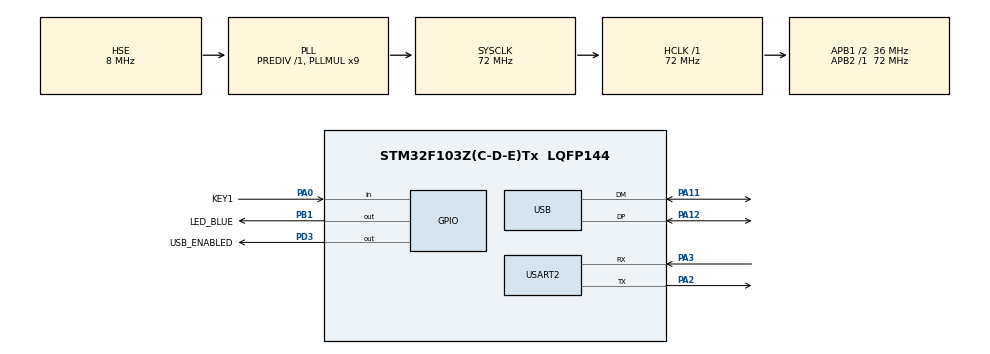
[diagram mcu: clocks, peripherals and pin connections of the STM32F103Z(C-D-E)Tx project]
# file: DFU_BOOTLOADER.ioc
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Mcu.Family=STM32F1
Mcu.Name=STM32F103Z(C-D-E)Tx
Mcu.Package=LQFP144
NVIC.PriorityGroup=NVIC_PRIORITYGROUP_4
NVIC.USB_LP_CAN1_RX0_IRQn=true\:0\:0\:false\:false\:true\:true\:true
OSC_IN.Mode=HSE-External-Oscillator
OSC_IN.Signal=RCC_OSC_IN
OSC_OUT.Mode=HSE-External-Oscillator
OSC_OUT.Signal=RCC_OSC_OUT
PA0-WKUP.GPIO_Label=KEY1
PA0-WKUP.Signal=GPIO_Input
PA11.Mode=Device
PA11.Signal=USB_DM
PA12.Mode=Device
PA12.Signal=USB_DP
PA13.Mode=Serial_Wire
PA13.Signal=SYS_JTMS-SWDIO
PA14.Mode=Serial_Wire
PA14.Signal=SYS_JTCK-SWCLK
PA2.Mode=Asynchronous
PA2.Signal=USART2_TX
PA3.Mode=Asynchronous
PA3.Signal=USART2_RX
PB1.GPIO_Label=LED_BLUE
PB1.GPIO_Speed=GPIO_SPEED_FREQ_HIGH
PB1.PinState=GPIO_PIN_SET
PB1.Signal=GPIO_Output
PD3.GPIO_Label=USB_ENABLED
PD3.GPIO_Speed=GPIO_SPEED_FREQ_HIGH
PD3.Signal=GPIO_Output
ProjectManager.HeapSize=0x1000
ProjectManager.StackSize=0x400
ProjectManager.TargetToolchain=MDK-ARM V5
RCC.AHBFreq_Value=72000000
RCC.APB1CLKDivider=RCC_HCLK_DIV2
RCC.APB1Freq_Value=36000000
RCC.APB1TimFreq_Value=72000000
RCC.APB2Freq_Value=72000000
RCC.APB2TimFreq_Value=72000000
RCC.HCLKFreq_Value=72000000
RCC.PLLMUL=RCC_PLL_MUL9
RCC.PLLSourceVirtual=RCC_PLLSOURCE_HSE
RCC.SYSCLKFreq_VALUE=72000000
RCC.SYSCLKSource=RCC_SYSCLKSOURCE_PLLCLK
RCC.USBFreq_Value=48000000
RCC.USBPrescaler=RCC_USBCLKSOURCE_PLL_DIV1_5
USART2.VirtualMode=VM_ASYNC
USB_DEVICE.CLASS_NAME_FS=DFU
USB_DEVICE.USBD_DFU_APP_DEFAULT_ADD=0x08010000
USB_DEVICE.VirtualMode=Dfu
USB_DEVICE.VirtualModeFS=Dfu_FS
VP_USB_DEVICE_VS_USB_DEVICE_DFU_FS.Mode=DFU_FS
board=custom

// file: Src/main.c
/* USER CODE BEGIN Header */
/**
  ******************************************************************************
  * @file           : main.c
  * @brief          : Main program body
  ******************************************************************************
  * @attention
  *
  * <h2><center>&copy; Copyright (c) 2020 STMicroelectronics.
  * All rights reserved.</center></h2>
  *
  * This software component is licensed by ST under Ultimate Liberty license
  * SLA0044, the "License"; You may not use this file except in compliance with
  * the License. You may obtain a copy of the License at:
  *                             www.st.com/SLA0044
  *
  ******************************************************************************
  */
/* USER CODE END Header */

#include "main.h"
#include "usart.h"
#include "usb_device.h"
#include "gpio.h"

void SystemClock_Config(void);
/* USER CODE BEGIN PFP */
int fputc(int ch, FILE* FILE)
{
    HAL_UART_Transmit(&huart2, (uint8_t*)&ch, 1, HAL_MAX_DELAY);
    return ch;
}

static void JumpToApp(void);
static void USB_GPIO_DeInit(void);
/* USER CODE END PFP */

/* USER CODE BEGIN 0 */
int main(void)
{
    HAL_Init();
    SystemClock_Config();
    MX_GPIO_Init();
    USB_GPIO_DeInit();
    MX_USART2_UART_Init();
    /*如果没有按下按键，则自动跳转到APP区，如果跳转不过去，则代表区域无APP*/
    if(HAL_GPIO_ReadPin(KEY1_GPIO_Port, KEY1_Pin) != GPIO_PIN_SET)
    {
        JumpToApp();
        printf("跳转失败，开始进入DFU模式\r\n");
    }

    MX_USB_DEVICE_Init();
    printf("Bruce.Yang DFU\n");
    HAL_GPIO_WritePin(LED_BLUE_GPIO_Port, LED_BLUE_Pin,GPIO_PIN_RESET);
    while(1)
    {
        HAL_Delay(1000);
    }
}
/* USER CODE END 0 */

void SystemClock_Config(void)
{
  RCC_OscInitTypeDef RCC_OscInitStruct = {0};
  RCC_ClkInitTypeDef RCC_ClkInitStruct = {0};
  RCC_PeriphCLKInitTypeDef PeriphClkInit = {0};

  /** Initializes the CPU, AHB and APB busses clocks
  */
  RCC_OscInitStruct.OscillatorType = RCC_OSCILLATORTYPE_HSE;
  RCC_OscInitStruct.HSEState = RCC_HSE_ON;
  RCC_OscInitStruct.HSEPredivValue = RCC_HSE_PREDIV_DIV1;
  RCC_OscInitStruct.HSIState = RCC_HSI_ON;
  RCC_OscInitStruct.PLL.PLLState = RCC_PLL_ON;
  RCC_OscInitStruct.PLL.PLLSource = RCC_PLLSOURCE_HSE;
  RCC_OscInitStruct.PLL.PLLMUL = RCC_PLL_MUL9;
  if (HAL_RCC_OscConfig(&RCC_OscInitStruct) != HAL_OK)
  {
    Error_Handler();
  }
  /** Initializes the CPU, AHB and APB busses clocks
  */
  RCC_ClkInitStruct.ClockType = RCC_CLOCKTYPE_HCLK|RCC_CLOCKTYPE_SYSCLK
                              |RCC_CLOCKTYPE_PCLK1|RCC_CLOCKTYPE_PCLK2;
  RCC_ClkInitStruct.SYSCLKSource = RCC_SYSCLKSOURCE_PLLCLK;
  RCC_ClkInitStruct.AHBCLKDivider = RCC_SYSCLK_DIV1;
  RCC_ClkInitStruct.APB1CLKDivider = RCC_HCLK_DIV2;
  RCC_ClkInitStruct.APB2CLKDivider = RCC_HCLK_DIV1;

  if (HAL_RCC_ClockConfig(&RCC_ClkInitStruct, FLASH_LATENCY_2) != HAL_OK)
  {
    Error_Handler();
  }
  PeriphClkInit.PeriphClockSelection = RCC_PERIPHCLK_USB;
  PeriphClkInit.UsbClockSelection = RCC_USBCLKSOURCE_PLL_DIV1_5;
  if (HAL_RCCEx_PeriphCLKConfig(&PeriphClkInit) != HAL_OK)
  {
    Error_Handler();
  }
}

/* USER CODE BEGIN 4 */
static void USB_GPIO_DeInit(void)
{
    GPIO_InitTypeDef GPIO_InitStruct = {0};

    /* GPIO Ports Clock Enable */
    __HAL_RCC_GPIOA_CLK_ENABLE();

    /*Configure GPIO pin Output Level */
    HAL_GPIO_WritePin(GPIOA, GPIO_PIN_11 | GPIO_PIN_12, GPIO_PIN_RESET);

    /*Configure GPIO pin : BLINK_LED_Pin */
    GPIO_InitStruct.Pin = GPIO_PIN_11 | GPIO_PIN_12;
    GPIO_InitStruct.Mode = GPIO_MODE_OUTPUT_PP;
    GPIO_InitStruct.Pull = GPIO_PULLDOWN;
    GPIO_InitStruct.Speed = GPIO_SPEED_FREQ_HIGH;
    HAL_GPIO_Init(GPIOA, &GPIO_InitStruct);

    HAL_Delay(100);
}

static void JumpToApp(void)
{
    typedef  void (*pFunction)(void);
    static pFunction JumpToApplication;
    static uint32_t JumpAddress;

    /* Test if user code is programmed starting from USBD_DFU_APP_DEFAULT_ADD * address */
    if (((*(__IO uint32_t *) USBD_DFU_APP_DEFAULT_ADD) & 0x2FFE0000) == 0x20000000)
    {
        /* Jump to user application */
        JumpAddress = *(__IO uint32_t *) (USBD_DFU_APP_DEFAULT_ADD + 4);
        JumpToApplication = (pFunction) JumpAddress;

        /* Initialize user application's Stack Pointer */
        __set_MSP((*(__IO uint32_t *) USBD_DFU_APP_DEFAULT_ADD));
        JumpToApplication();
    }
}
/* USER CODE END 4 */

void Error_Handler(void)
{
}

/************************ (C) COPYRIGHT STMicroelectronics *****END OF FILE****/
